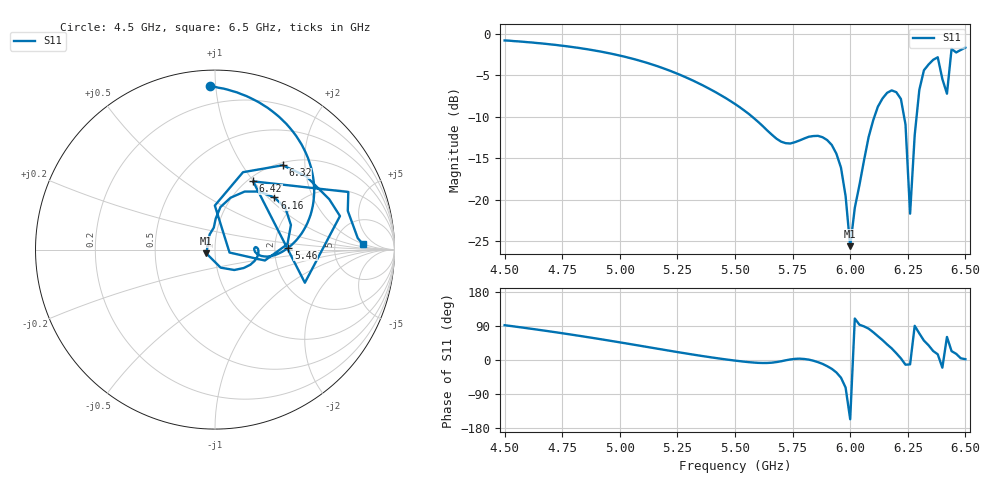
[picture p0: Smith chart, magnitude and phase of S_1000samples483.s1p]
! TOUCHSTONE file generated by CST MICROWAVE STUDIO
! Date and time: Fri Oct 28 07:46:54 2022
! Project name: L.cst
! Parameters = {Di=1.27; Epsilon_r=1.56; InnerDiameter=1.27; Length=2; Lf=10; Lg=60; OuterConductorThickness=0.2921; OuterDiameter=3.6; Wf=3; Wp=41.2; de=1.5; df=6.8; g=0.8; gx=3.17972; gy=4.57448; h=2.34; hf=1.524; px=14.7241; py=12.2383; w=9.7; wx=11.5444; wy=7.66384}
! Header version: 2018
! Port assignment regex: !\s*Touchstone port\s*([0-9]+)\s*=\s*(CST MWS port|CST DS port)\s*([0-9]+|Zmin|Zmax)\s*\(\"(.*)\"\)(\s*mode\s*([0-9]+))?.*
! Touchstone port assignment:
! Touchstone port 1 = CST MWS port 1 ("")
# GHz S DB R 50
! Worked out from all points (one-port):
!   101 points, 4.5 GHz to 6.5 GHz, reference 50 ohm
!   lowest |S11| = -25.6 dB at 6 GHz (marker M1), VSWR 1.11, Z = 45.4 - j1.92 ohm
!   |S11| at or under -10 dB: 5.575 GHz to 6.105 GHz (530.4 MHz wide, 9.08 % of centre); 6.234 GHz to 6.288 GHz (54.11 MHz wide, 0.864 % of centre)
!   S11 on the Smith chart (normalised r, x): 4.5 GHz: 0.09, +0.96; 5.46 GHz: 2.38, +0.06; 6.16 GHz: 1.52, +1.09; 6.32 GHz: 1.05, +1.54; 6.42 GHz: 1.06, +0.99; 6.5 GHz: 10, +2
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4.5  -0.82 91.8
4.76  -1.48 69.7
5  -2.64 46.6
5.26  -4.93 20.0
5.46  -7.75 1.6
5.5  -8.46 -1.6
5.7  -12.99 -3.4
5.76  -13.06 3.0
5.92  -13.39 -23.3
5.96  -16.12 -46.6
5.98  -19.54 -72.6
6  -25.57 -156.4
6.02  -20.95 109.5
6.08  -12.44 82.7
6.12  -8.80 62.9
6.16  -7.13 41.3
6.22  -7.85 4.4
6.24  -10.92 -12.4
6.26  -21.66 -11.5
6.28  -12.20 90.2
6.3  -6.77 70.1
6.32  -4.41 51.3
6.38  -2.84 15.0
6.4  -5.45 -20.2
6.42  -7.22 60.8
6.44  -1.84 23.4
6.48  -1.96 4.6
6.5  -1.67 2.1
